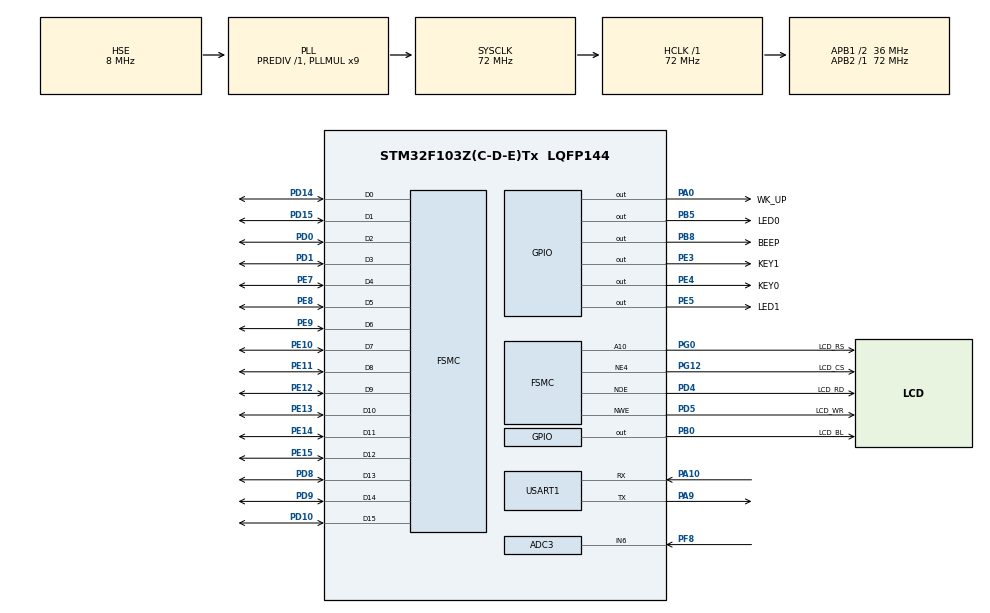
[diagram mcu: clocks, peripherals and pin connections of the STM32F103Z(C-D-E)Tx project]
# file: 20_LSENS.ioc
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ADC3.Channel-0\#ChannelRegularConversion=ADC_CHANNEL_6
ADC3.NbrOfConversionFlag=1
ADC3.Rank-0\#ChannelRegularConversion=1
ADC3.SamplingTime-0\#ChannelRegularConversion=ADC_SAMPLETIME_239CYCLES_5
FSMC.AddressSetupTime1=0
FSMC.BusTurnAroundDuration1=15
FSMC.DataSetupTime1=15
FSMC.ExtendedAddressSetupTime1=0
FSMC.ExtendedDataSetupTime1=1
FSMC.ExtendedMode1=FSMC_EXTENDED_MODE_ENABLE
Mcu.Family=STM32F1
Mcu.Name=STM32F103Z(C-D-E)Tx
Mcu.Package=LQFP144
NVIC.PriorityGroup=NVIC_PRIORITYGROUP_2
NVIC.USART1_IRQn=true\:2\:2\:true\:false\:true\:true\:true\:true
OSC_IN.Mode=HSE-External-Oscillator
OSC_IN.Signal=RCC_OSC_IN
OSC_OUT.Mode=HSE-External-Oscillator
OSC_OUT.Signal=RCC_OSC_OUT
PA0-WKUP.GPIO_Label=WK_UP
PA0-WKUP.GPIO_PuPd=GPIO_PULLDOWN
PA0-WKUP.GPIO_Speed=GPIO_SPEED_FREQ_HIGH
PA0-WKUP.PinState=GPIO_PIN_RESET
PA0-WKUP.Signal=GPIO_Output
PA10.Mode=Asynchronous
PA10.Signal=USART1_RX
PA13.Mode=Serial_Wire
PA13.Signal=SYS_JTMS-SWDIO
PA14.Mode=Serial_Wire
PA14.Signal=SYS_JTCK-SWCLK
PA9.Mode=Asynchronous
PA9.Signal=USART1_TX
PB0.GPIO_Label=LCD_BL
PB0.GPIO_PuPd=GPIO_PULLUP
PB0.GPIO_Speed=GPIO_SPEED_FREQ_HIGH
PB0.PinState=GPIO_PIN_SET
PB0.Signal=GPIO_Output
PB5.GPIO_Label=LED0
PB5.GPIO_PuPd=GPIO_PULLUP
PB5.GPIO_Speed=GPIO_SPEED_FREQ_HIGH
PB5.PinState=GPIO_PIN_SET
PB5.Signal=GPIO_Output
PB8.GPIO_Label=BEEP
PB8.GPIO_ModeDefaultOutputPP=GPIO_MODE_OUTPUT_PP
PB8.GPIO_PuPd=GPIO_PULLDOWN
PB8.GPIO_Speed=GPIO_SPEED_FREQ_HIGH
PB8.PinState=GPIO_PIN_RESET
PB8.Signal=GPIO_Output
PC14-OSC32_IN.Mode=LSE-External-Oscillator
PC14-OSC32_IN.Signal=RCC_OSC32_IN
PC15-OSC32_OUT.Mode=LSE-External-Oscillator
PC15-OSC32_OUT.Signal=RCC_OSC32_OUT
PD0.Signal=FSMC_D2_DA2
PD1.Signal=FSMC_D3_DA3
PD10.Signal=FSMC_D15_DA15
PD14.Signal=FSMC_D0_DA0
PD15.Signal=FSMC_D1_DA1
PD4.GPIO_Label=LCD_RD
PD4.Signal=FSMC_NOE
PD5.GPIO_Label=LCD_WR
PD5.Signal=FSMC_NWE
PD8.Signal=FSMC_D13_DA13
PD9.Signal=FSMC_D14_DA14
PE10.Signal=FSMC_D7_DA7
PE11.Signal=FSMC_D8_DA8
PE12.Signal=FSMC_D9_DA9
PE13.Signal=FSMC_D10_DA10
PE14.Signal=FSMC_D11_DA11
PE15.Signal=FSMC_D12_DA12
PE3.GPIO_Label=KEY1
PE3.GPIO_PuPd=GPIO_PULLUP
PE3.GPIO_Speed=GPIO_SPEED_FREQ_HIGH
PE3.PinState=GPIO_PIN_SET
PE3.Signal=GPIO_Output
PE4.GPIO_Label=KEY0
PE4.GPIO_PuPd=GPIO_PULLUP
PE4.GPIO_Speed=GPIO_SPEED_FREQ_HIGH
PE4.PinState=GPIO_PIN_SET
PE4.Signal=GPIO_Output
PE5.GPIO_Label=LED1
PE5.GPIO_PuPd=GPIO_PULLUP
PE5.GPIO_Speed=GPIO_SPEED_FREQ_HIGH
PE5.PinState=GPIO_PIN_SET
PE5.Signal=GPIO_Output
PE7.Signal=FSMC_D4_DA4
PE8.Signal=FSMC_D5_DA5
PE9.Signal=FSMC_D6_DA6
PF8.Mode=IN6
PF8.Signal=ADC3_IN6
PG0.GPIO_Label=LCD_RS
PG0.Signal=FSMC_A10
PG12.GPIO_Label=LCD_CS
PG12.Mode=NorPsramChipSelect4_1
PG12.Signal=FSMC_NE4
ProjectManager.HeapSize=0x200
ProjectManager.StackSize=0x400
ProjectManager.TargetToolchain=STM32CubeIDE
RCC.ADCPresc=RCC_ADCPCLK2_DIV6
RCC.AHBFreq_Value=72000000
RCC.APB1CLKDivider=RCC_HCLK_DIV2
RCC.APB1Freq_Value=36000000
RCC.APB1TimFreq_Value=72000000
RCC.APB2Freq_Value=72000000
RCC.APB2TimFreq_Value=72000000
RCC.HCLKFreq_Value=72000000
RCC.PLLMUL=RCC_PLL_MUL9
RCC.PLLSourceVirtual=RCC_PLLSOURCE_HSE
RCC.SYSCLKFreq_VALUE=72000000
RCC.SYSCLKSource=RCC_SYSCLKSOURCE_PLLCLK
RCC.USBFreq_Value=72000000
SH.FSMC_A10.0=FSMC_A10,A10_1
SH.FSMC_D0_DA0.0=FSMC_D0,16b-d1
SH.FSMC_D10_DA10.0=FSMC_D10,16b-d1
SH.FSMC_D11_DA11.0=FSMC_D11,16b-d1
SH.FSMC_D12_DA12.0=FSMC_D12,16b-d1
SH.FSMC_D13_DA13.0=FSMC_D13,16b-d1
SH.FSMC_D14_DA14.0=FSMC_D14,16b-d1
SH.FSMC_D15_DA15.0=FSMC_D15,16b-d1
SH.FSMC_D1_DA1.0=FSMC_D1,16b-d1
SH.FSMC_D2_DA2.0=FSMC_D2,16b-d1
SH.FSMC_D3_DA3.0=FSMC_D3,16b-d1
SH.FSMC_D4_DA4.0=FSMC_D4,16b-d1
SH.FSMC_D5_DA5.0=FSMC_D5,16b-d1
SH.FSMC_D6_DA6.0=FSMC_D6,16b-d1
SH.FSMC_D7_DA7.0=FSMC_D7,16b-d1
SH.FSMC_D8_DA8.0=FSMC_D8,16b-d1
SH.FSMC_D9_DA9.0=FSMC_D9,16b-d1
SH.FSMC_NOE.0=FSMC_NOE,Lcd1
SH.FSMC_NWE.0=FSMC_NWE,Lcd1
USART1.VirtualMode=VM_ASYNC
board=custom

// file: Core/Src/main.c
/* USER CODE BEGIN Header */

/* USER CODE END Header */
#include "main.h"
#include "adc.h"
#include "usart.h"
#include "gpio.h"
#include "fsmc.h"

/* USER CODE BEGIN Includes */
#include "../../BSP/LED/led.h"
#include "../../BSP/LSENS/lsens.h"
#include "../../BSP/KEY/key.h"
#include "../../BSP/LCD/lcd.h"
#include "../../SYSTEM/delay/delay.h"
/* USER CODE END Includes */

void SystemClock_Config(void);

int main(void)
{
  /* USER CODE BEGIN 1 */
    short adcx;
  /* USER CODE END 1 */

  /* MCU Configuration--------------------------------------------------------*/

  /* Reset of all peripherals, Initializes the Flash interface and the Systick. */
  HAL_Init();

  /* Configure the system clock */
  SystemClock_Config();

  /* USER CODE BEGIN SysInit */
  delay_init(72);						   /* 初始化延时函数 */
  /* USER CODE END SysInit */

  /* Initialize all configured peripherals */
  MX_GPIO_Init();
  MX_FSMC_Init();
  MX_USART1_UART_Init();
  MX_ADC3_Init();
  /* USER CODE BEGIN 2 */
  lcd_init();                                         /* 初始化LCD */
  lcd_show_string(30,  50, 200, 16, 16, "STM32", RED);
  lcd_show_string(30,  70, 200, 16, 16, "LSENS TEST", RED);
  lcd_show_string(30,  90, 200, 16, 16, "ATOM@ALIENTEK", RED);
  lcd_show_string(30, 110, 200, 16, 16, "LSENS_VAL:", BLUE);
  /* USER CODE END 2 */

  /* Infinite loop */
  /* USER CODE BEGIN WHILE */
  while (1)
  {
      adcx = lsens_get_val();
      lcd_show_xnum(30 + 10 * 8, 110, adcx, 3, 16, 0, BLUE); /* 显示ADC的值 */
      LED0_TOGGLE();   /* LED0闪烁,提示程序运行 */
      delay_ms(250);

    /* USER CODE END WHILE */

  }
}

void SystemClock_Config(void)
{
  RCC_OscInitTypeDef RCC_OscInitStruct = {0};
  RCC_ClkInitTypeDef RCC_ClkInitStruct = {0};
  RCC_PeriphCLKInitTypeDef PeriphClkInit = {0};

  /** Initializes the RCC Oscillators according to the specified parameters
  * in the RCC_OscInitTypeDef structure.
  */
  RCC_OscInitStruct.OscillatorType = RCC_OSCILLATORTYPE_HSE;
  RCC_OscInitStruct.HSEState = RCC_HSE_ON;
  RCC_OscInitStruct.HSEPredivValue = RCC_HSE_PREDIV_DIV1;
  RCC_OscInitStruct.HSIState = RCC_HSI_ON;
  RCC_OscInitStruct.PLL.PLLState = RCC_PLL_ON;
  RCC_OscInitStruct.PLL.PLLSource = RCC_PLLSOURCE_HSE;
  RCC_OscInitStruct.PLL.PLLMUL = RCC_PLL_MUL9;
  if (HAL_RCC_OscConfig(&RCC_OscInitStruct) != HAL_OK)
  {
    Error_Handler();
  }

  /** Initializes the CPU, AHB and APB buses clocks
  */
  RCC_ClkInitStruct.ClockType = RCC_CLOCKTYPE_HCLK|RCC_CLOCKTYPE_SYSCLK
                              |RCC_CLOCKTYPE_PCLK1|RCC_CLOCKTYPE_PCLK2;
  RCC_ClkInitStruct.SYSCLKSource = RCC_SYSCLKSOURCE_PLLCLK;
  RCC_ClkInitStruct.AHBCLKDivider = RCC_SYSCLK_DIV1;
  RCC_ClkInitStruct.APB1CLKDivider = RCC_HCLK_DIV2;
  RCC_ClkInitStruct.APB2CLKDivider = RCC_HCLK_DIV1;

  if (HAL_RCC_ClockConfig(&RCC_ClkInitStruct, FLASH_LATENCY_2) != HAL_OK)
  {
    Error_Handler();
  }
  PeriphClkInit.PeriphClockSelection = RCC_PERIPHCLK_ADC;
  PeriphClkInit.AdcClockSelection = RCC_ADCPCLK2_DIV6;
  if (HAL_RCCEx_PeriphCLKConfig(&PeriphClkInit) != HAL_OK)
  {
    Error_Handler();
  }
}

void Error_Handler(void)
{
  __disable_irq();
  while (1)
  {
  }
}
